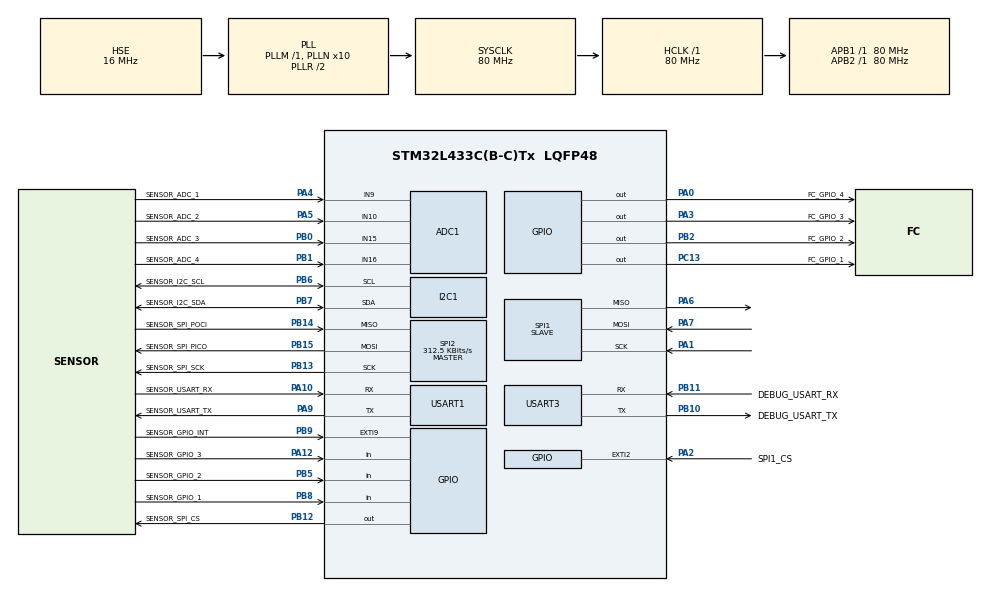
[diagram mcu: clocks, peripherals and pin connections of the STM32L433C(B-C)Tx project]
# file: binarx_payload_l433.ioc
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ADC1.Channel-0\#ChannelRegularConversion=ADC_CHANNEL_9
ADC1.Channel-1\#ChannelRegularConversion=ADC_CHANNEL_10
ADC1.Channel-2\#ChannelRegularConversion=ADC_CHANNEL_15
ADC1.Channel-3\#ChannelRegularConversion=ADC_CHANNEL_16
ADC1.NbrOfConversion=4
ADC1.NbrOfConversionFlag=1
ADC1.OffsetNumber-0\#ChannelRegularConversion=ADC_OFFSET_NONE
ADC1.OffsetNumber-1\#ChannelRegularConversion=ADC_OFFSET_NONE
ADC1.OffsetNumber-2\#ChannelRegularConversion=ADC_OFFSET_NONE
ADC1.OffsetNumber-3\#ChannelRegularConversion=ADC_OFFSET_NONE
ADC1.Rank-0\#ChannelRegularConversion=1
ADC1.Rank-1\#ChannelRegularConversion=2
ADC1.Rank-2\#ChannelRegularConversion=3
ADC1.Rank-3\#ChannelRegularConversion=4
ADC1.SamplingTime-0\#ChannelRegularConversion=ADC_SAMPLETIME_2CYCLES_5
ADC1.SamplingTime-1\#ChannelRegularConversion=ADC_SAMPLETIME_2CYCLES_5
ADC1.SamplingTime-2\#ChannelRegularConversion=ADC_SAMPLETIME_2CYCLES_5
ADC1.SamplingTime-3\#ChannelRegularConversion=ADC_SAMPLETIME_2CYCLES_5
ADC1.master=1
I2C1.Timing=0x10D19CE4
Mcu.Family=STM32L4
Mcu.Name=STM32L433C(B-C)Tx
Mcu.Package=LQFP48
NVIC.EXTI2_IRQn=true\:0\:0\:false\:false\:true\:true\:true\:true
NVIC.EXTI9_5_IRQn=true\:0\:0\:false\:false\:true\:true\:true\:true
NVIC.PriorityGroup=NVIC_PRIORITYGROUP_4
NVIC.SPI1_IRQn=true\:0\:0\:false\:false\:true\:true\:true\:true
PA0.GPIO_Label=FC_GPIO_4
PA0.Signal=GPIO_Output
PA1.GPIO_Speed=GPIO_SPEED_FREQ_LOW
PA1.Mode=Full_Duplex_Slave
PA1.Signal=SPI1_SCK
PA10.GPIO_Label=SENSOR_USART_RX
PA10.GPIO_Speed=GPIO_SPEED_FREQ_LOW
PA10.Mode=Asynchronous
PA10.Signal=USART1_RX
PA12.GPIO_Label=SENSOR_GPIO_3
PA12.Signal=GPIO_Input
PA13\ (JTMS-SWDIO).Mode=Trace_Asynchronous_SW
PA13\ (JTMS-SWDIO).Signal=SYS_JTMS-SWDIO
PA14\ (JTCK-SWCLK).Mode=Trace_Asynchronous_SW
PA14\ (JTCK-SWCLK).Signal=SYS_JTCK-SWCLK
PA2.GPIO_Label=SPI1_CS
PA2.GPIO_ModeDefaultEXTI=GPIO_MODE_IT_FALLING
PA2.Signal=GPXTI2
PA3.GPIO_Label=FC_GPIO_3
PA3.Signal=GPIO_Output
PA4.GPIO_Label=SENSOR_ADC_1
PA4.Signal=ADCx_IN9
PA5.GPIO_Label=SENSOR_ADC_2
PA5.Signal=ADCx_IN10
PA6.GPIO_Speed=GPIO_SPEED_FREQ_LOW
PA6.Mode=Full_Duplex_Slave
PA6.Signal=SPI1_MISO
PA7.GPIO_Speed=GPIO_SPEED_FREQ_LOW
PA7.Mode=Full_Duplex_Slave
PA7.Signal=SPI1_MOSI
PA9.GPIO_Label=SENSOR_USART_TX
PA9.GPIO_Speed=GPIO_SPEED_FREQ_LOW
PA9.Mode=Asynchronous
PA9.Signal=USART1_TX
PB0.GPIO_Label=SENSOR_ADC_3
PB0.Signal=ADCx_IN15
PB1.GPIO_Label=SENSOR_ADC_4
PB1.Signal=ADCx_IN16
PB10.GPIO_Label=DEBUG_USART_TX
PB10.GPIO_Speed=GPIO_SPEED_FREQ_LOW
PB10.Mode=Asynchronous
PB10.Signal=USART3_TX
PB11.GPIO_Label=DEBUG_USART_RX
PB11.GPIO_Speed=GPIO_SPEED_FREQ_LOW
PB11.Mode=Asynchronous
PB11.Signal=USART3_RX
PB12.GPIO_Label=SENSOR_SPI_CS
PB12.PinState=GPIO_PIN_SET
PB12.Signal=GPIO_Output
PB13.GPIO_Label=SENSOR_SPI_SCK
PB13.GPIO_Speed=GPIO_SPEED_FREQ_LOW
PB13.Mode=Full_Duplex_Master
PB13.Signal=SPI2_SCK
PB14.GPIO_Label=SENSOR_SPI_POCI
PB14.GPIO_Speed=GPIO_SPEED_FREQ_LOW
PB14.Mode=Full_Duplex_Master
PB14.Signal=SPI2_MISO
PB15.GPIO_Label=SENSOR_SPI_PICO
PB15.GPIO_Speed=GPIO_SPEED_FREQ_LOW
PB15.Mode=Full_Duplex_Master
PB15.Signal=SPI2_MOSI
PB2.GPIO_Label=FC_GPIO_2
PB2.Signal=GPIO_Output
PB3\ (JTDO-TRACESWO).Mode=Trace_Asynchronous_SW
PB3\ (JTDO-TRACESWO).Signal=SYS_JTDO-SWO
PB5.GPIO_Label=SENSOR_GPIO_2
PB5.Signal=GPIO_Input
PB6.GPIO_Label=SENSOR_I2C_SCL
PB6.GPIO_Speed=GPIO_SPEED_FREQ_LOW
PB6.Mode=I2C
PB6.Signal=I2C1_SCL
PB7.GPIO_Label=SENSOR_I2C_SDA
PB7.GPIO_Speed=GPIO_SPEED_FREQ_LOW
PB7.Mode=I2C
PB7.Signal=I2C1_SDA
PB8.GPIO_Label=SENSOR_GPIO_1
PB8.Signal=GPIO_Input
PB9.GPIO_Label=SENSOR_GPIO_INT
PB9.Signal=GPXTI9
PC13.GPIO_Label=FC_GPIO_1
PC13.Signal=GPIO_Output
PC14-OSC32_IN\ (PC14).Mode=LSE-External-Oscillator
PC14-OSC32_IN\ (PC14).Signal=RCC_OSC32_IN
PC15-OSC32_OUT\ (PC15).Mode=LSE-External-Oscillator
PC15-OSC32_OUT\ (PC15).Signal=RCC_OSC32_OUT
PH0-OSC_IN\ (PH0).Mode=HSE-External-Oscillator
PH0-OSC_IN\ (PH0).Signal=RCC_OSC_IN
PH1-OSC_OUT\ (PH1).Mode=HSE-External-Oscillator
PH1-OSC_OUT\ (PH1).Signal=RCC_OSC_OUT
ProjectManager.HeapSize=0x200
ProjectManager.StackSize=0x400
ProjectManager.TargetToolchain=STM32CubeIDE
RCC.ADCFreq_Value=64000000
RCC.AHBFreq_Value=80000000
RCC.APB1Freq_Value=80000000
RCC.APB1TimFreq_Value=80000000
RCC.APB2Freq_Value=80000000
RCC.APB2TimFreq_Value=80000000
RCC.CortexFreq_Value=80000000
RCC.FLatency-AdvancedSettings=FLASH_LATENCY_4
RCC.HCLKFreq_Value=80000000
RCC.HSE_VALUE=16000000
RCC.HSI48_VALUE=48000000
RCC.HSI_VALUE=16000000
RCC.MSI_VALUE=4000000
RCC.PLLN=10
RCC.PLLSourceVirtual=RCC_PLLSOURCE_HSE
RCC.SYSCLKFreq_VALUE=80000000
RCC.SYSCLKSource=RCC_SYSCLKSOURCE_PLLCLK
RCC.USBFreq_Value=64000000
RCC.VCOOutputFreq_Value=160000000
SH.ADCx_IN10.0=ADC1_IN10,IN10-Single-Ended
SH.ADCx_IN15.0=ADC1_IN15,IN15-Single-Ended
SH.ADCx_IN16.0=ADC1_IN16,IN16-Single-Ended
SH.ADCx_IN9.0=ADC1_IN9,IN9-Single-Ended
SPI1.DataSize=SPI_DATASIZE_8BIT
SPI1.Direction=SPI_DIRECTION_2LINES
SPI1.Mode=SPI_MODE_SLAVE
SPI1.VirtualType=VM_SLAVE
SPI2.BaudRatePrescaler=SPI_BAUDRATEPRESCALER_256
SPI2.CalculateBaudRate=312.5 KBits/s
SPI2.DataSize=SPI_DATASIZE_8BIT
SPI2.Direction=SPI_DIRECTION_2LINES
SPI2.Mode=SPI_MODE_MASTER
SPI2.VirtualType=VM_MASTER
USART1.VirtualMode-Asynchronous=VM_ASYNC
USART3.VirtualMode-Asynchronous=VM_ASYNC
board=custom

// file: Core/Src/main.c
/* USER CODE BEGIN Header */
/**
  ******************************************************************************
  * @file           : main.c
  * @brief          : Main program body
  ******************************************************************************
  * @attention
  *
  * Copyright (c) 2024 STMicroelectronics.
  * All rights reserved.
  *
  * This software is licensed under terms that can be found in the LICENSE file
  * in the root directory of this software component.
  * If no LICENSE file comes with this software, it is provided AS-IS.
  *
  ******************************************************************************
  */
/* USER CODE END Header */
#include "main.h"

ADC_HandleTypeDef hadc1;

I2C_HandleTypeDef hi2c1;

SPI_HandleTypeDef hspi1;
SPI_HandleTypeDef hspi2;

UART_HandleTypeDef huart1;
UART_HandleTypeDef huart3;

/* USER CODE BEGIN PV */
int kDelayTime = 100;  // milliseconds (1/time (s) = frequency (Hz))
// STATE MACHINE INITIAL CONDITIONS
bool kCapturingData = true; // Capture payload data and process it
bool kTransmitData = false; // Transmit payload (peripheral) data to the Emulator (controller)
bool kPayloadReadyToTransmit = false; // Wait for the Emulator (controller) to receive the data
// DATA ARRAY BUILDER
// There is a maximum data array size determined by the L4's RAM
uint8_t data[10000]; // Data array (unsigned 8-bit integers * 10,000 = 80,000 bits)

//ADC
uint16_t adc_readings[4];

static uint8_t csv_line[51] = ""; // Static 50 character buffer for serial communication
uint16_t data_length = 0;
/* USER CODE END PV */

void SystemClock_Config(void);
static void MX_GPIO_Init(void);
static void MX_I2C1_Init(void);
static void MX_SPI1_Init(void);
static void MX_SPI2_Init(void);
static void MX_USART1_UART_Init(void);
static void MX_ADC1_Init(void);
static void MX_USART3_UART_Init(void);

/* USER CODE BEGIN 0 */
/* Flight computer SPI Communication Interrupt */
void HAL_GPIO_EXTI_Callback(uint16_t GPIO_Pin) {
  switch (GPIO_Pin) {
    case SPI1_CS_Pin:
    	ChipSelectInterrupt(&hspi1, kPayloadReadyToTransmit);
    	break;
    default:
      break;
  }
}
/* USER CODE END 0 */

int main(void)
{

  /* USER CODE BEGIN 1 */
  // ensure all data memory is empty
  memset(data, '\0', sizeof(data));

  //Setup data array with title and headings
  strcat((char*)data, "Test Data\r\n");
  strcat((char*)data, "ADC1,ADC2,ADC3,ADC4,GPIO1,GPIO2,GPIO3,Time\r\n");

  /* USER CODE END 1 */

  /* MCU Configuration--------------------------------------------------------*/

  /* Reset of all peripherals, Initializes the Flash interface and the Systick. */
  HAL_Init();

  /* Configure the system clock */
  SystemClock_Config();

  /* Initialize all configured peripherals */
  MX_GPIO_Init();
  MX_I2C1_Init();
  MX_SPI1_Init();
  MX_SPI2_Init();
  MX_USART1_UART_Init();
  MX_ADC1_Init();
  MX_USART3_UART_Init();

  /* Infinite loop */
  while (1)
  {

    /* USER CODE BEGIN 3 */
	    // State machine
	  if(kCapturingData){
		  /* Place your data collection code here*/

		  /* Example code reading all 3 GPIO Ports and 4 ADC Channels */
		  // Build test data array
		  for(int i = 0; i < 10; i++){
			  HAL_ADC_Start(&hadc1);                         // Start ADC Conversion @ Selected Channel
			  for(int j = 0; j < 4; j++){
				  adc_readings[j] = HAL_ADC_GetValue(&hadc1);         // Read The ADC Conversion Result
			  }
			  // Empty the CSV_line to avoid unintended characters
			  memset(csv_line,0,sizeof(csv_line));
			  // This line overwrites the csv_line string with the 4 ADC readings, the 3 GPIO ports and current runtime
			  sprintf((char*)csv_line, "%d,%d,%d,%d,%d,%d,%d,%lu\r\n",
					  adc_readings[0], adc_readings[1], adc_readings[2], adc_readings[3],
					  HAL_GPIO_ReadPin(GPIOB, SENSOR_GPIO_1_Pin), HAL_GPIO_ReadPin(GPIOB, SENSOR_GPIO_2_Pin),
					  HAL_GPIO_ReadPin(GPIOA, SENSOR_GPIO_3_Pin), HAL_GetTick());

			  /* Start of capturing data payload debugging code remove on flight ready code */
			  HAL_UART_Transmit(&huart3, csv_line, sizeof(csv_line), 1000);
			  /* End of capturing payload debugging code remove on flight ready code */

		      // strcat appends a string to the end of the line
			  strcat((char*)data, (char*)csv_line);
			  HAL_Delay(1000); //Wait One Second before gathering more data
		  }

		  /*End of Example code*/

	      // Change state to kTransmitData
	      kTransmitData = true;
	      kCapturingData = false;

	    }
		else if (kTransmitData){
	      // Count the amount of bytes in the data array
	      for(int i = 0; i < (sizeof(data)/sizeof(data[0])); i++){
	        if(data[i] != '\0'){
	          data_length++;
	        }
	      }
	      // Prepare metadata and data array
	      Transmit(data, data_length);

        // Set data ready line high
	      HAL_GPIO_WritePin(GPIOC, FC_GPIO_1_Pin, GPIO_PIN_SET);

	      // Change state to kPayloadReadyToTransmit
	      kPayloadReadyToTransmit = true;
	      kTransmitData = false;
	      strcpy((char*)csv_line, "");
	    }
	    else if (kPayloadReadyToTransmit){
	      // Wait for emulator to receive data
			HAL_Delay(1000);
	    }
  }
  /* USER CODE END 3 */
}

void SystemClock_Config(void)
{
  RCC_OscInitTypeDef RCC_OscInitStruct = {0};
  RCC_ClkInitTypeDef RCC_ClkInitStruct = {0};

  /** Configure the main internal regulator output voltage
  */
  if (HAL_PWREx_ControlVoltageScaling(PWR_REGULATOR_VOLTAGE_SCALE1) != HAL_OK)
  {
    Error_Handler();
  }

  /** Initializes the RCC Oscillators according to the specified parameters
  * in the RCC_OscInitTypeDef structure.
  */
  RCC_OscInitStruct.OscillatorType = RCC_OSCILLATORTYPE_HSE;
  RCC_OscInitStruct.HSEState = RCC_HSE_ON;
  RCC_OscInitStruct.PLL.PLLState = RCC_PLL_ON;
  RCC_OscInitStruct.PLL.PLLSource = RCC_PLLSOURCE_HSE;
  RCC_OscInitStruct.PLL.PLLM = 1;
  RCC_OscInitStruct.PLL.PLLN = 10;
  RCC_OscInitStruct.PLL.PLLP = RCC_PLLP_DIV7;
  RCC_OscInitStruct.PLL.PLLQ = RCC_PLLQ_DIV2;
  RCC_OscInitStruct.PLL.PLLR = RCC_PLLR_DIV2;
  if (HAL_RCC_OscConfig(&RCC_OscInitStruct) != HAL_OK)
  {
    Error_Handler();
  }

  /** Initializes the CPU, AHB and APB buses clocks
  */
  RCC_ClkInitStruct.ClockType = RCC_CLOCKTYPE_HCLK|RCC_CLOCKTYPE_SYSCLK
                              |RCC_CLOCKTYPE_PCLK1|RCC_CLOCKTYPE_PCLK2;
  RCC_ClkInitStruct.SYSCLKSource = RCC_SYSCLKSOURCE_PLLCLK;
  RCC_ClkInitStruct.AHBCLKDivider = RCC_SYSCLK_DIV1;
  RCC_ClkInitStruct.APB1CLKDivider = RCC_HCLK_DIV1;
  RCC_ClkInitStruct.APB2CLKDivider = RCC_HCLK_DIV1;

  if (HAL_RCC_ClockConfig(&RCC_ClkInitStruct, FLASH_LATENCY_4) != HAL_OK)
  {
    Error_Handler();
  }
}

static void MX_ADC1_Init(void)
{

  ADC_ChannelConfTypeDef sConfig = {0};

  /** Common config
  */
  hadc1.Instance = ADC1;
  hadc1.Init.ClockPrescaler = ADC_CLOCK_ASYNC_DIV1;
  hadc1.Init.Resolution = ADC_RESOLUTION_12B;
  hadc1.Init.DataAlign = ADC_DATAALIGN_RIGHT;
  hadc1.Init.ScanConvMode = ADC_SCAN_ENABLE;
  hadc1.Init.EOCSelection = ADC_EOC_SINGLE_CONV;
  hadc1.Init.LowPowerAutoWait = DISABLE;
  hadc1.Init.ContinuousConvMode = DISABLE;
  hadc1.Init.NbrOfConversion = 4;
  hadc1.Init.DiscontinuousConvMode = DISABLE;
  hadc1.Init.ExternalTrigConv = ADC_SOFTWARE_START;
  hadc1.Init.ExternalTrigConvEdge = ADC_EXTERNALTRIGCONVEDGE_NONE;
  hadc1.Init.DMAContinuousRequests = DISABLE;
  hadc1.Init.Overrun = ADC_OVR_DATA_PRESERVED;
  hadc1.Init.OversamplingMode = DISABLE;
  if (HAL_ADC_Init(&hadc1) != HAL_OK)
  {
    Error_Handler();
  }

  /** Configure Regular Channel
  */
  sConfig.Channel = ADC_CHANNEL_9;
  sConfig.Rank = ADC_REGULAR_RANK_1;
  sConfig.SamplingTime = ADC_SAMPLETIME_2CYCLES_5;
  sConfig.SingleDiff = ADC_SINGLE_ENDED;
  sConfig.OffsetNumber = ADC_OFFSET_NONE;
  sConfig.Offset = 0;
  if (HAL_ADC_ConfigChannel(&hadc1, &sConfig) != HAL_OK)
  {
    Error_Handler();
  }

  /** Configure Regular Channel
  */
  sConfig.Channel = ADC_CHANNEL_10;
  sConfig.Rank = ADC_REGULAR_RANK_2;
  if (HAL_ADC_ConfigChannel(&hadc1, &sConfig) != HAL_OK)
  {
    Error_Handler();
  }

  /** Configure Regular Channel
  */
  sConfig.Channel = ADC_CHANNEL_15;
  sConfig.Rank = ADC_REGULAR_RANK_3;
  if (HAL_ADC_ConfigChannel(&hadc1, &sConfig) != HAL_OK)
  {
    Error_Handler();
  }

  /** Configure Regular Channel
  */
  sConfig.Channel = ADC_CHANNEL_16;
  sConfig.Rank = ADC_REGULAR_RANK_4;
  if (HAL_ADC_ConfigChannel(&hadc1, &sConfig) != HAL_OK)
  {
    Error_Handler();
  }

}

static void MX_I2C1_Init(void)
{

  hi2c1.Instance = I2C1;
  hi2c1.Init.Timing = 0x10D19CE4;
  hi2c1.Init.OwnAddress1 = 0;
  hi2c1.Init.AddressingMode = I2C_ADDRESSINGMODE_7BIT;
  hi2c1.Init.DualAddressMode = I2C_DUALADDRESS_DISABLE;
  hi2c1.Init.OwnAddress2 = 0;
  hi2c1.Init.OwnAddress2Masks = I2C_OA2_NOMASK;
  hi2c1.Init.GeneralCallMode = I2C_GENERALCALL_DISABLE;
  hi2c1.Init.NoStretchMode = I2C_NOSTRETCH_DISABLE;
  if (HAL_I2C_Init(&hi2c1) != HAL_OK)
  {
    Error_Handler();
  }

  /** Configure Analogue filter
  */
  if (HAL_I2CEx_ConfigAnalogFilter(&hi2c1, I2C_ANALOGFILTER_ENABLE) != HAL_OK)
  {
    Error_Handler();
  }

  /** Configure Digital filter
  */
  if (HAL_I2CEx_ConfigDigitalFilter(&hi2c1, 0) != HAL_OK)
  {
    Error_Handler();
  }

}

static void MX_SPI1_Init(void)
{

  /* SPI1 parameter configuration*/
  hspi1.Instance = SPI1;
  hspi1.Init.Mode = SPI_MODE_SLAVE;
  hspi1.Init.Direction = SPI_DIRECTION_2LINES;
  hspi1.Init.DataSize = SPI_DATASIZE_8BIT;
  hspi1.Init.CLKPolarity = SPI_POLARITY_LOW;
  hspi1.Init.CLKPhase = SPI_PHASE_1EDGE;
  hspi1.Init.NSS = SPI_NSS_SOFT;
  hspi1.Init.FirstBit = SPI_FIRSTBIT_MSB;
  hspi1.Init.TIMode = SPI_TIMODE_DISABLE;
  hspi1.Init.CRCCalculation = SPI_CRCCALCULATION_DISABLE;
  hspi1.Init.CRCPolynomial = 7;
  hspi1.Init.CRCLength = SPI_CRC_LENGTH_DATASIZE;
  hspi1.Init.NSSPMode = SPI_NSS_PULSE_DISABLE;
  if (HAL_SPI_Init(&hspi1) != HAL_OK)
  {
    Error_Handler();
  }

}

static void MX_SPI2_Init(void)
{

  /* SPI2 parameter configuration*/
  hspi2.Instance = SPI2;
  hspi2.Init.Mode = SPI_MODE_MASTER;
  hspi2.Init.Direction = SPI_DIRECTION_2LINES;
  hspi2.Init.DataSize = SPI_DATASIZE_8BIT;
  hspi2.Init.CLKPolarity = SPI_POLARITY_LOW;
  hspi2.Init.CLKPhase = SPI_PHASE_1EDGE;
  hspi2.Init.NSS = SPI_NSS_SOFT;
  hspi2.Init.BaudRatePrescaler = SPI_BAUDRATEPRESCALER_256;
  hspi2.Init.FirstBit = SPI_FIRSTBIT_MSB;
  hspi2.Init.TIMode = SPI_TIMODE_DISABLE;
  hspi2.Init.CRCCalculation = SPI_CRCCALCULATION_DISABLE;
  hspi2.Init.CRCPolynomial = 7;
  hspi2.Init.CRCLength = SPI_CRC_LENGTH_DATASIZE;
  hspi2.Init.NSSPMode = SPI_NSS_PULSE_ENABLE;
  if (HAL_SPI_Init(&hspi2) != HAL_OK)
  {
    Error_Handler();
  }

}

static void MX_USART1_UART_Init(void)
{

  huart1.Instance = USART1;
  huart1.Init.BaudRate = 115200;
  huart1.Init.WordLength = UART_WORDLENGTH_8B;
  huart1.Init.StopBits = UART_STOPBITS_1;
  huart1.Init.Parity = UART_PARITY_NONE;
  huart1.Init.Mode = UART_MODE_TX_RX;
  huart1.Init.HwFlowCtl = UART_HWCONTROL_NONE;
  huart1.Init.OverSampling = UART_OVERSAMPLING_16;
  huart1.Init.OneBitSampling = UART_ONE_BIT_SAMPLE_DISABLE;
  huart1.AdvancedInit.AdvFeatureInit = UART_ADVFEATURE_NO_INIT;
  if (HAL_UART_Init(&huart1) != HAL_OK)
  {
    Error_Handler();
  }

}

static void MX_USART3_UART_Init(void)
{

  huart3.Instance = USART3;
  huart3.Init.BaudRate = 115200;
  huart3.Init.WordLength = UART_WORDLENGTH_8B;
  huart3.Init.StopBits = UART_STOPBITS_1;
  huart3.Init.Parity = UART_PARITY_NONE;
  huart3.Init.Mode = UART_MODE_TX_RX;
  huart3.Init.HwFlowCtl = UART_HWCONTROL_NONE;
  huart3.Init.OverSampling = UART_OVERSAMPLING_16;
  huart3.Init.OneBitSampling = UART_ONE_BIT_SAMPLE_DISABLE;
  huart3.AdvancedInit.AdvFeatureInit = UART_ADVFEATURE_NO_INIT;
  if (HAL_UART_Init(&huart3) != HAL_OK)
  {
    Error_Handler();
  }

}

static void MX_GPIO_Init(void)
{
  GPIO_InitTypeDef GPIO_InitStruct = {0};

  /* GPIO Ports Clock Enable */
  __HAL_RCC_GPIOC_CLK_ENABLE();
  __HAL_RCC_GPIOH_CLK_ENABLE();
  __HAL_RCC_GPIOA_CLK_ENABLE();
  __HAL_RCC_GPIOB_CLK_ENABLE();

  /*Configure GPIO pin Output Level */
  HAL_GPIO_WritePin(FC_GPIO_1_GPIO_Port, FC_GPIO_1_Pin, GPIO_PIN_RESET);

  /*Configure GPIO pin Output Level */
  HAL_GPIO_WritePin(GPIOA, FC_GPIO_4_Pin|FC_GPIO_3_Pin, GPIO_PIN_RESET);

  /*Configure GPIO pin Output Level */
  HAL_GPIO_WritePin(FC_GPIO_2_GPIO_Port, FC_GPIO_2_Pin, GPIO_PIN_RESET);

  /*Configure GPIO pin Output Level */
  HAL_GPIO_WritePin(SENSOR_SPI_CS_GPIO_Port, SENSOR_SPI_CS_Pin, GPIO_PIN_SET);

  /*Configure GPIO pin : FC_GPIO_1_Pin */
  GPIO_InitStruct.Pin = FC_GPIO_1_Pin;
  GPIO_InitStruct.Mode = GPIO_MODE_OUTPUT_PP;
  GPIO_InitStruct.Pull = GPIO_NOPULL;
  GPIO_InitStruct.Speed = GPIO_SPEED_FREQ_LOW;
  HAL_GPIO_Init(FC_GPIO_1_GPIO_Port, &GPIO_InitStruct);

  /*Configure GPIO pins : FC_GPIO_4_Pin FC_GPIO_3_Pin */
  GPIO_InitStruct.Pin = FC_GPIO_4_Pin|FC_GPIO_3_Pin;
  GPIO_InitStruct.Mode = GPIO_MODE_OUTPUT_PP;
  GPIO_InitStruct.Pull = GPIO_NOPULL;
  GPIO_InitStruct.Speed = GPIO_SPEED_FREQ_LOW;
  HAL_GPIO_Init(GPIOA, &GPIO_InitStruct);

  /*Configure GPIO pin : SPI1_CS_Pin */
  GPIO_InitStruct.Pin = SPI1_CS_Pin;
  GPIO_InitStruct.Mode = GPIO_MODE_IT_FALLING;
  GPIO_InitStruct.Pull = GPIO_NOPULL;
  HAL_GPIO_Init(SPI1_CS_GPIO_Port, &GPIO_InitStruct);

  /*Configure GPIO pins : FC_GPIO_2_Pin SENSOR_SPI_CS_Pin */
  GPIO_InitStruct.Pin = FC_GPIO_2_Pin|SENSOR_SPI_CS_Pin;
  GPIO_InitStruct.Mode = GPIO_MODE_OUTPUT_PP;
  GPIO_InitStruct.Pull = GPIO_NOPULL;
  GPIO_InitStruct.Speed = GPIO_SPEED_FREQ_LOW;
  HAL_GPIO_Init(GPIOB, &GPIO_InitStruct);

  /*Configure GPIO pin : SENSOR_GPIO_3_Pin */
  GPIO_InitStruct.Pin = SENSOR_GPIO_3_Pin;
  GPIO_InitStruct.Mode = GPIO_MODE_INPUT;
  GPIO_InitStruct.Pull = GPIO_NOPULL;
  HAL_GPIO_Init(SENSOR_GPIO_3_GPIO_Port, &GPIO_InitStruct);

  /*Configure GPIO pins : SENSOR_GPIO_2_Pin SENSOR_GPIO_1_Pin */
  GPIO_InitStruct.Pin = SENSOR_GPIO_2_Pin|SENSOR_GPIO_1_Pin;
  GPIO_InitStruct.Mode = GPIO_MODE_INPUT;
  GPIO_InitStruct.Pull = GPIO_NOPULL;
  HAL_GPIO_Init(GPIOB, &GPIO_InitStruct);

  /*Configure GPIO pin : SENSOR_GPIO_INT_Pin */
  GPIO_InitStruct.Pin = SENSOR_GPIO_INT_Pin;
  GPIO_InitStruct.Mode = GPIO_MODE_IT_RISING;
  GPIO_InitStruct.Pull = GPIO_NOPULL;
  HAL_GPIO_Init(SENSOR_GPIO_INT_GPIO_Port, &GPIO_InitStruct);

  /* EXTI interrupt init*/
  HAL_NVIC_SetPriority(EXTI2_IRQn, 0, 0);
  HAL_NVIC_EnableIRQ(EXTI2_IRQn);

  HAL_NVIC_SetPriority(EXTI9_5_IRQn, 0, 0);
  HAL_NVIC_EnableIRQ(EXTI9_5_IRQn);

}

void Error_Handler(void)
{
  __disable_irq();
  while (1)
  {
  }
}
